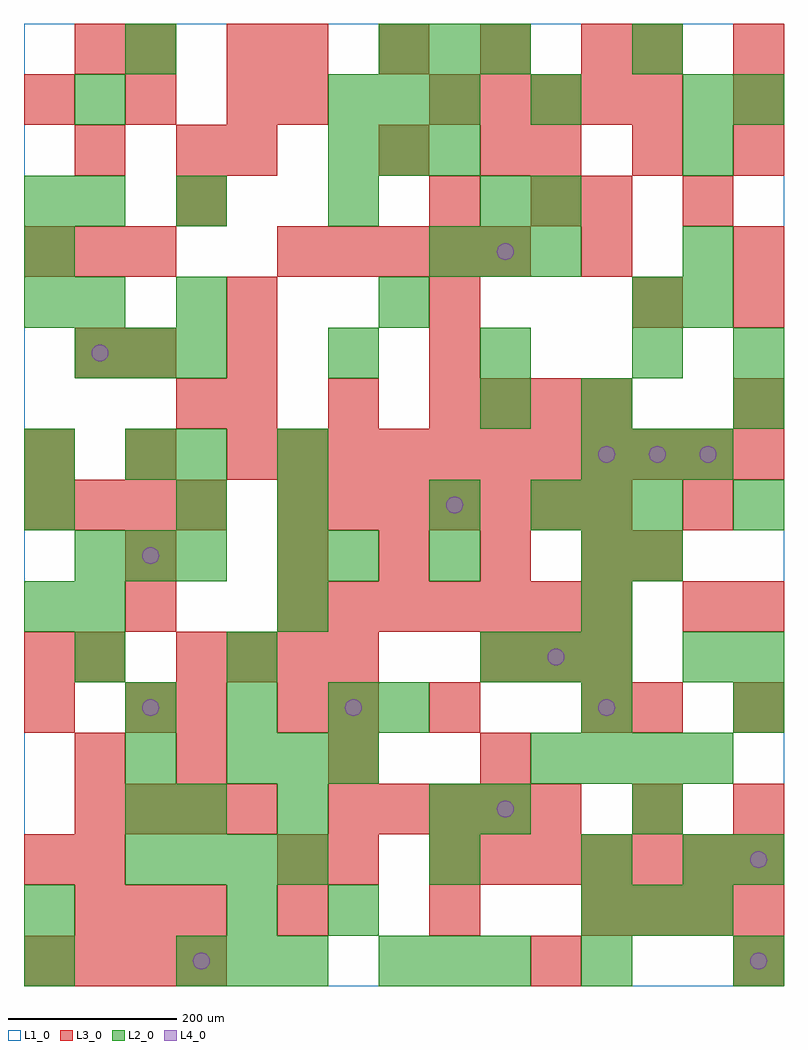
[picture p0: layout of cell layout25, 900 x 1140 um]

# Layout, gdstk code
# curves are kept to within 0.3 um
import gdstk
lib = gdstk.Library(unit=1e-6, precision=1e-09)
def R(c, l, rs):  # rectangles x0, y0, x1, y1
    for r in rs: c.add(gdstk.rectangle(r[:2], r[2:], *l))
def A(c, l, x, y, w, h, nx, ny, dx, dy):  # array of equal rectangles
    R(c, l, [(x+i*dx, y+j*dy, x+i*dx+w, y+j*dy+h) for i in range(nx) for j in range(ny)])
def P(c, l, *ps):  # polygons
    for p in ps: c.add(gdstk.Polygon(p, *l))
L1_0 = (1, 0)
L2_0 = (2, 0)
L3_0 = (3, 0)
L4_0 = (4, 0)

layout25 = lib.new_cell('layout25')
R(layout25, L1_0, [(0,0,900,1140)])
A(layout25, L2_0, 180, 0, 60, 60, 3, 1, 60, 0)
A(layout25, L2_0, 420, 0, 60, 60, 3, 2, 60, 1080)
A(layout25, L2_0, 660, 60, 60, 60, 3, 2, 60, 540)
A(layout25, L2_0, 120, 120, 60, 60, 4, 1, 60, 0)
A(layout25, L2_0, 720, 180, 60, 60, 1, 4, 0, 300)
A(layout25, L2_0, 240, 240, 60, 60, 3, 1, 60, 0)
A(layout25, L2_0, 600, 240, 60, 60, 4, 1, 60, 0)
A(layout25, L2_0, 120, 300, 60, 60, 3, 1, 120, 0)
A(layout25, L2_0, 540, 360, 60, 60, 3, 1, 60, 0)
A(layout25, L2_0, 300, 420, 60, 60, 1, 4, 0, 60)
A(layout25, L2_0, 60, 480, 60, 60, 3, 2, 60, 240)
A(layout25, L2_0, 600, 540, 60, 60, 3, 1, 60, 0)
A(layout25, L2_0, 360, 720, 60, 60, 3, 1, 180, 0)
A(layout25, L2_0, 0, 780, 60, 60, 1, 3, 0, 60)
A(layout25, L2_0, 60, 780, 60, 60, 1, 3, 0, 120)
A(layout25, L2_0, 480, 840, 60, 60, 3, 1, 60, 0)
A(layout25, L2_0, 180, 900, 60, 60, 3, 1, 180, 0)
A(layout25, L2_0, 360, 960, 60, 60, 3, 2, 60, 60)
R(layout25, L2_0, [(0,0,60,60), (660,0,720,60), (840,0,900,60), (0,60,60,120), (240,60,300,120), (360,60,420,120), (480,120,540,180), (660,120,720,180), (780,120,840,180), (840,120,900,180), (120,180,180,240), (180,180,240,240), (300,180,360,240), (480,180,540,240), (540,180,600,240), (120,240,180,300), (420,300,480,360), (660,300,720,360), (840,300,900,360), (60,360,120,420), (240,360,300,420), (780,360,840,420), (840,360,900,420), (0,420,60,480), (60,420,120,480), (660,420,720,480), (360,480,420,540), (480,480,540,540), (660,480,720,540), (0,540,60,600), (180,540,240,600), (480,540,540,600), (840,540,900,600), (0,600,60,660), (120,600,180,660), (180,600,240,660), (540,660,600,720), (660,660,720,720), (840,660,900,720), (840,720,900,780), (180,780,240,840), (420,780,480,840), (780,780,840,840), (780,840,840,900), (600,900,660,960), (780,960,840,1020), (600,1020,660,1080), (780,1020,840,1080), (840,1020,900,1080), (120,1080,180,1140)])
A(layout25, L3_0, 0, 0, 60, 60, 4, 2, 60, 540)
A(layout25, L3_0, 60, 60, 60, 60, 3, 1, 60, 0)
A(layout25, L3_0, 300, 60, 60, 60, 3, 1, 180, 0)
A(layout25, L3_0, 720, 60, 60, 60, 3, 1, 60, 0)
A(layout25, L3_0, 60, 120, 60, 60, 1, 3, 0, 120)
A(layout25, L3_0, 480, 120, 60, 60, 7, 1, 60, 0)
A(layout25, L3_0, 60, 180, 60, 60, 4, 1, 60, 0)
A(layout25, L3_0, 360, 180, 60, 60, 5, 1, 60, 0)
A(layout25, L3_0, 840, 180, 60, 60, 1, 3, 0, 120)
A(layout25, L3_0, 180, 240, 60, 60, 3, 1, 180, 0)
A(layout25, L3_0, 180, 360, 60, 60, 4, 1, 60, 0)
A(layout25, L3_0, 540, 360, 60, 60, 3, 2, 60, 300)
A(layout25, L3_0, 300, 420, 60, 60, 7, 2, 60, 120)
A(layout25, L3_0, 300, 480, 60, 60, 4, 2, 120, 600)
A(layout25, L3_0, 0, 600, 60, 60, 3, 2, 120, 420)
A(layout25, L3_0, 300, 600, 60, 60, 10, 1, 60, 0)
A(layout25, L3_0, 240, 660, 60, 60, 3, 1, 120, 0)
A(layout25, L3_0, 240, 780, 60, 60, 3, 1, 240, 0)
A(layout25, L3_0, 0, 840, 60, 60, 3, 1, 60, 0)
A(layout25, L3_0, 300, 840, 60, 60, 5, 1, 60, 0)
A(layout25, L3_0, 600, 960, 60, 60, 3, 1, 120, 0)
A(layout25, L3_0, 480, 1020, 60, 60, 5, 1, 60, 0)
R(layout25, L3_0, [(600,0,660,60), (840,0,900,60), (0,120,60,180), (300,120,360,180), (360,120,420,180), (720,180,780,240), (0,300,60,360), (120,300,180,360), (180,300,240,360), (300,300,360,360), (360,300,420,360), (480,300,540,360), (660,300,720,360), (720,300,780,360), (0,360,60,420), (120,420,180,480), (780,420,840,480), (120,480,180,540), (720,480,780,540), (780,540,840,600), (180,660,240,720), (840,660,900,720), (60,720,120,780), (120,720,180,780), (240,720,300,780), (480,720,540,780), (840,780,900,840), (660,840,720,900), (840,840,900,900), (180,900,240,960), (480,900,540,960), (600,900,660,960), (660,900,720,960), (780,900,840,960), (60,960,120,1020), (180,960,240,1020), (240,960,300,1020), (420,960,480,1020), (540,960,600,1020), (300,1020,360,1080), (840,1020,900,1080), (60,1080,120,1140), (120,1080,180,1140), (240,1080,300,1140), (720,1080,780,1140), (840,1080,900,1140)])
P(layout25, L4_0, [(100,750),(99.239,753.827),(97.071,757.071),(93.827,759.239),(90,760),(86.173,759.239),(82.929,757.071),(80.761,753.827),(80,750),(80.761,746.173),(82.929,742.929),(86.173,740.761),(90,740),(93.827,740.761),(97.071,742.929),(99.239,746.173)],
  [(160,330),(159.239,333.827),(157.071,337.071),(153.827,339.239),(150,340),(146.173,339.239),(142.929,337.071),(140.761,333.827),(140,330),(140.761,326.173),(142.929,322.929),(146.173,320.761),(150,320),(153.827,320.761),(157.071,322.929),(159.239,326.173)],
  [(160,510),(159.239,513.827),(157.071,517.071),(153.827,519.239),(150,520),(146.173,519.239),(142.929,517.071),(140.761,513.827),(140,510),(140.761,506.173),(142.929,502.929),(146.173,500.761),(150,500),(153.827,500.761),(157.071,502.929),(159.239,506.173)],
  [(220,30),(219.239,33.827),(217.071,37.071),(213.827,39.239),(210,40),(206.173,39.239),(202.929,37.071),(200.761,33.827),(200,30),(200.761,26.173),(202.929,22.929),(206.173,20.761),(210,20),(213.827,20.761),(217.071,22.929),(219.239,26.173)],
  [(400,330),(399.239,333.827),(397.071,337.071),(393.827,339.239),(390,340),(386.173,339.239),(382.929,337.071),(380.761,333.827),(380,330),(380.761,326.173),(382.929,322.929),(386.173,320.761),(390,320),(393.827,320.761),(397.071,322.929),(399.239,326.173)],
  [(520,570),(519.239,573.827),(517.071,577.071),(513.827,579.239),(510,580),(506.173,579.239),(502.929,577.071),(500.761,573.827),(500,570),(500.761,566.173),(502.929,562.929),(506.173,560.761),(510,560),(513.827,560.761),(517.071,562.929),(519.239,566.173)],
  [(580,210),(579.239,213.827),(577.071,217.071),(573.827,219.239),(570,220),(566.173,219.239),(562.929,217.071),(560.761,213.827),(560,210),(560.761,206.173),(562.929,202.929),(566.173,200.761),(570,200),(573.827,200.761),(577.071,202.929),(579.239,206.173)],
  [(580,870),(579.239,873.827),(577.071,877.071),(573.827,879.239),(570,880),(566.173,879.239),(562.929,877.071),(560.761,873.827),(560,870),(560.761,866.173),(562.929,862.929),(566.173,860.761),(570,860),(573.827,860.761),(577.071,862.929),(579.239,866.173)],
  [(640,390),(639.239,393.827),(637.071,397.071),(633.827,399.239),(630,400),(626.173,399.239),(622.929,397.071),(620.761,393.827),(620,390),(620.761,386.173),(622.929,382.929),(626.173,380.761),(630,380),(633.827,380.761),(637.071,382.929),(639.239,386.173)],
  [(700,330),(699.239,333.827),(697.071,337.071),(693.827,339.239),(690,340),(686.173,339.239),(682.929,337.071),(680.761,333.827),(680,330),(680.761,326.173),(682.929,322.929),(686.173,320.761),(690,320),(693.827,320.761),(697.071,322.929),(699.239,326.173)],
  [(700,630),(699.239,633.827),(697.071,637.071),(693.827,639.239),(690,640),(686.173,639.239),(682.929,637.071),(680.761,633.827),(680,630),(680.761,626.173),(682.929,622.929),(686.173,620.761),(690,620),(693.827,620.761),(697.071,622.929),(699.239,626.173)],
  [(760,630),(759.239,633.827),(757.071,637.071),(753.827,639.239),(750,640),(746.173,639.239),(742.929,637.071),(740.761,633.827),(740,630),(740.761,626.173),(742.929,622.929),(746.173,620.761),(750,620),(753.827,620.761),(757.071,622.929),(759.239,626.173)],
  [(820,630),(819.239,633.827),(817.071,637.071),(813.827,639.239),(810,640),(806.173,639.239),(802.929,637.071),(800.761,633.827),(800,630),(800.761,626.173),(802.929,622.929),(806.173,620.761),(810,620),(813.827,620.761),(817.071,622.929),(819.239,626.173)],
  [(880,30),(879.239,33.827),(877.071,37.071),(873.827,39.239),(870,40),(866.173,39.239),(862.929,37.071),(860.761,33.827),(860,30),(860.761,26.173),(862.929,22.929),(866.173,20.761),(870,20),(873.827,20.761),(877.071,22.929),(879.239,26.173)],
  [(880,150),(879.239,153.827),(877.071,157.071),(873.827,159.239),(870,160),(866.173,159.239),(862.929,157.071),(860.761,153.827),(860,150),(860.761,146.173),(862.929,142.929),(866.173,140.761),(870,140),(873.827,140.761),(877.071,142.929),(879.239,146.173)])

lib.write_gds('layout25.gds')
